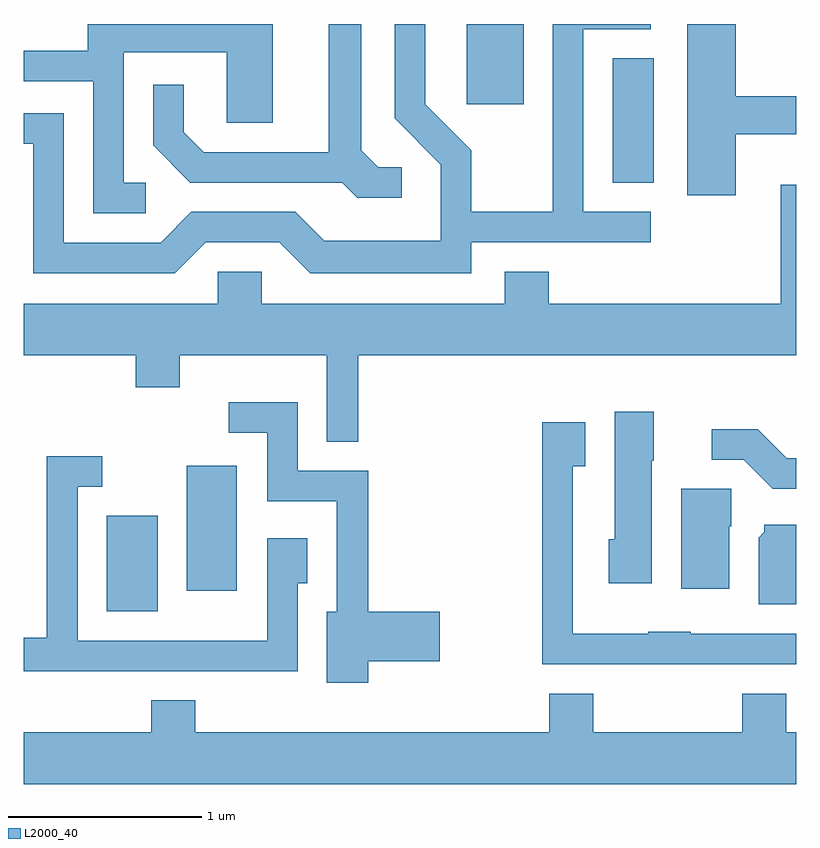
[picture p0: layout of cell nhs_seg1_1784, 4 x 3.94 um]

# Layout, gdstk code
import gdstk
lib = gdstk.Library(unit=1e-6, precision=1e-09)
def R(c, l, rs):  # rectangles x0, y0, x1, y1
    for r in rs: c.add(gdstk.rectangle(r[:2], r[2:], *l))
def P(c, l, *ps):  # polygons
    for p in ps: c.add(gdstk.Polygon(p, *l))
L2000_40 = (2000, 40)

nhs_seg1_1784 = lib.new_cell('nhs_seg1_1784')
R(nhs_seg1_1784, L2000_40, [(240.041,922.671,240.304,923.164), (240.456,922.776,240.714,923.424), (242.661,924.891,242.874,925.534), (241.906,925.296,242.199,925.712), (243.531,925.711,243.611,925.712)])
P(nhs_seg1_1784, L2000_40, [(243.299,925.141),(243.611,925.141),(243.611,925.339),(243.299,925.339),(243.299,925.712),(243.046,925.712),(243.046,924.826),(243.299,924.826)],
  [(240.243,924.889),(240.129,924.889),(240.129,925.566),(240.661,925.566),(240.661,925.201),(240.899,925.201),(240.899,925.712),(239.941,925.712),(239.941,925.574),(239.611,925.574),(239.611,925.416),(239.971,925.416),(239.971,924.731),(240.243,924.731)],
  [(241.568,924.969),(241.447,924.969),(241.359,925.057),(241.359,925.712),(241.191,925.712),(241.191,925.049),(240.542,925.049),(240.439,925.152),(240.439,925.398),(240.281,925.398),(240.281,925.084),(240.474,924.891),(241.259,924.891),(241.339,924.811),(241.568,924.811)],
  [(240.552,924.581),(240.934,924.581),(241.094,924.421),(241.929,924.421),(241.929,924.581),(242.858,924.581),(242.858,924.739),(242.509,924.739),(242.509,925.686),(242.858,925.686),(242.858,925.712),(242.351,925.712),(242.351,924.739),(241.929,924.739),(241.929,925.057),(241.689,925.297),(241.689,925.712),(241.531,925.712),(241.531,925.224),(241.771,924.984),(241.771,924.589),(241.167,924.589),(241.017,924.739),(240.479,924.739),(240.319,924.579),(239.819,924.579),(239.819,925.249),(239.611,925.249),(239.611,925.091),(239.661,925.091),(239.661,924.421),(240.392,924.421)],
  [(241.344,923.996),(243.611,923.996),(243.611,924.879),(243.531,924.879),(243.531,924.264),(242.329,924.264),(242.329,924.429),(242.101,924.429),(242.101,924.264),(240.844,924.264),(240.844,924.429),(240.616,924.429),(240.616,924.264),(239.611,924.264),(239.611,923.996),(240.191,923.996),(240.191,923.831),(240.419,923.831),(240.419,923.996),(241.181,923.996),(241.181,923.548),(241.344,923.548)],
  [(241.394,922.411),(241.764,922.411),(241.764,922.669),(241.394,922.669),(241.394,923.399),(241.029,923.399),(241.029,923.754),(240.673,923.754),(240.673,923.596),(240.871,923.596),(240.871,923.241),(241.231,923.241),(241.231,922.669),(241.181,922.669),(241.181,922.301),(241.394,922.301)],
  [(242.864,923.45),(242.874,923.45),(242.874,923.704),(242.671,923.704),(242.671,923.044),(242.641,923.044),(242.641,922.816),(242.864,922.816)],
  [(243.611,922.554),(243.065,922.554),(243.065,922.564),(242.845,922.564),(242.845,922.554),(242.454,922.554),(242.454,923.421),(242.519,923.421),(242.519,923.649),(242.296,923.649),(242.296,922.396),(243.611,922.396)],
  [(243.611,923.464),(243.562,923.464),(243.412,923.614),(243.173,923.614),(243.173,923.456),(243.339,923.456),(243.489,923.306),(243.611,923.306)],
  [(241.029,922.816),(241.079,922.816),(241.079,923.049),(240.871,923.049),(240.871,922.519),(239.889,922.519),(239.889,923.316),(240.018,923.316),(240.018,923.474),(239.731,923.474),(239.731,922.534),(239.611,922.534),(239.611,922.361),(241.029,922.361)],
  [(243.264,923.11),(243.274,923.11),(243.274,923.304),(243.016,923.304),(243.016,922.786),(243.264,922.786)],
  [(243.611,923.119),(243.446,923.119),(243.446,923.082),(243.416,923.052),(243.416,922.706),(243.611,922.706)],
  [(243.611,922.044),(243.559,922.044),(243.559,922.244),(243.331,922.244),(243.331,922.044),(242.559,922.044),(242.559,922.244),(242.331,922.244),(242.331,922.044),(240.499,922.044),(240.499,922.209),(240.271,922.209),(240.271,922.044),(239.611,922.044),(239.611,921.776),(243.611,921.776)])

lib.write_gds('nhs_seg1_1784.gds')
